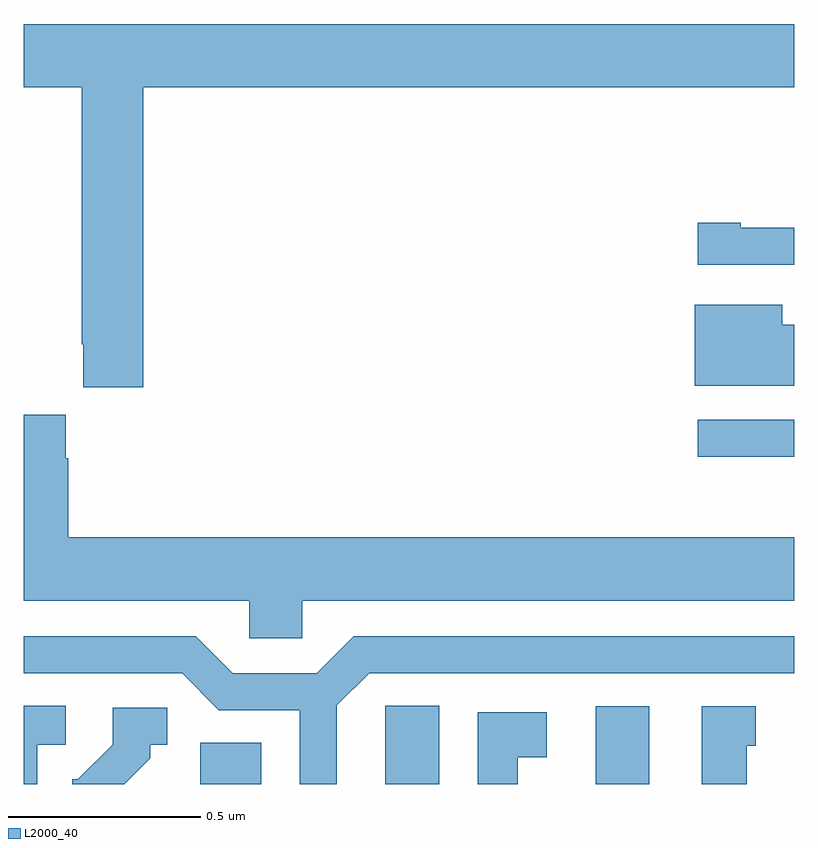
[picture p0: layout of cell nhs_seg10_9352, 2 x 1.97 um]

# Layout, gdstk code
import gdstk
lib = gdstk.Library(unit=1e-6, precision=1e-09)
def R(c, l, rs):  # rectangles x0, y0, x1, y1
    for r in rs: c.add(gdstk.rectangle(r[:2], r[2:], *l))
def P(c, l, *ps):  # polygons
    for p in ps: c.add(gdstk.Polygon(p, *l))
L2000_40 = (2000, 40)

nhs_seg10_9352 = lib.new_cell('nhs_seg10_9352')
R(nhs_seg10_9352, L2000_40, [(228.458,1306.5,228.616,1306.607), (229.484,1306.5,229.624,1306.702), (229.749,1307.349,230,1307.445)])
P(nhs_seg10_9352, L2000_40, [(228.311,1308.308),(230,1308.308),(230,1308.472),(228,1308.472),(228,1308.308),(228.151,1308.308),(228.151,1307.641),(228.155,1307.641),(228.155,1307.529),(228.311,1307.529)],
  [(230,1307.943),(229.861,1307.943),(229.861,1307.956),(229.749,1307.956),(229.749,1307.847),(230,1307.847)],
  [(230,1307.692),(229.969,1307.692),(229.969,1307.743),(229.742,1307.743),(229.742,1307.534),(230,1307.534)],
  [(228.723,1306.976),(230,1306.976),(230,1307.14),(228.116,1307.14),(228.116,1307.345),(228.109,1307.345),(228.109,1307.458),(228,1307.458),(228,1306.976),(228.585,1306.976),(228.585,1306.878),(228.723,1306.878)],
  [(228.813,1306.704),(228.897,1306.788),(230,1306.788),(230,1306.884),(228.857,1306.884),(228.761,1306.788),(228.543,1306.788),(228.447,1306.884),(228,1306.884),(228,1306.788),(228.411,1306.788),(228.507,1306.692),(228.717,1306.692),(228.717,1306.5),(228.813,1306.5)],
  [(229.078,1306.703),(228.939,1306.703),(228.939,1306.595),(228.938,1306.595),(228.938,1306.5),(229.078,1306.5)],
  [(228.036,1306.602),(228.109,1306.602),(228.109,1306.703),(228,1306.703),(228,1306.5),(228.036,1306.5)],
  [(229.876,1306.599),(229.9,1306.599),(229.9,1306.702),(229.76,1306.702),(229.76,1306.5),(229.876,1306.5)],
  [(228.328,1306.567),(228.328,1306.602),(228.373,1306.602),(228.373,1306.698),(228.231,1306.698),(228.231,1306.602),(228.141,1306.512),(228.126,1306.512),(228.126,1306.5),(228.261,1306.5)],
  [(229.282,1306.57),(229.357,1306.57),(229.357,1306.686),(229.178,1306.686),(229.178,1306.5),(229.282,1306.5)])

lib.write_gds('nhs_seg10_9352.gds')
